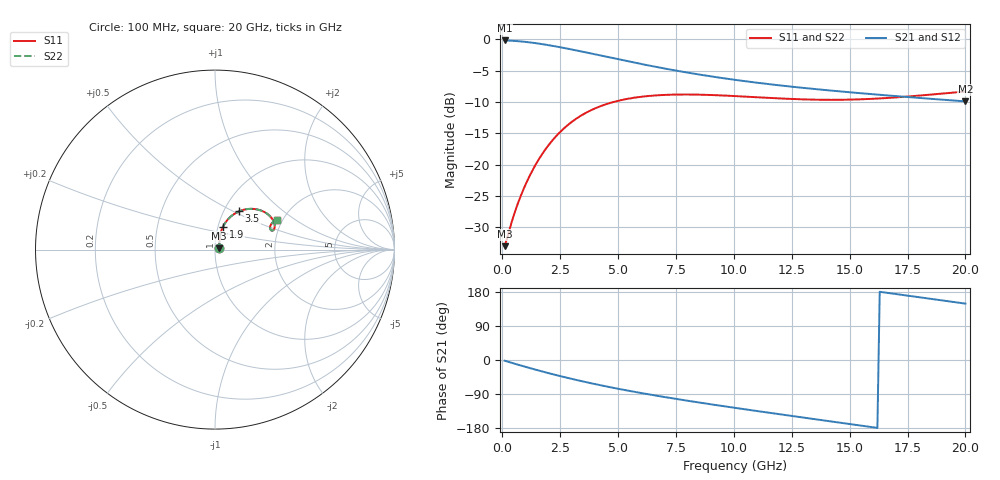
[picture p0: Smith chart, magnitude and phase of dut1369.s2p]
! Touchstone file exported from HFSS 2024.1.0
!  File:  C:/UserFiles/LocalFiles/RDL_TSV_Batchsim/temp_RDL_TSV_1369_1780398449.aedt
!  Generated:  07:24:12 PM Jun  2, 2026
!  Design:  RDL_TSV
!  Project:  temp_RDL_TSV_1369_1780398449
!  Setup:  Setup1
!  Solution:  Sweep
! Variables:
!  dtsv = 8.83um
!  hbump = 3um
!  htsv = 68.87um
!  ldown = 251.18um
!  lrdl = 578.28um
!  p = 40
!  p1 = 55.55um
!  rhole = 10um
!  subl = 3066.66um
!  t = 450um
!  tdown = 2.5um
!  trdl = 3.65um
!  viad = 10um
!  wdown = 11.99um
!  wrdl = 18.67um
!  xbump = 18um
# GHz S MA R 50.000000
! Terminal data exported
! Port[1] = TM1_1_T1
! Port[2] = TM1_4_T1
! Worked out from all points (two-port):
!   200 points, 100 MHz to 20 GHz, reference 50 ohm
!   highest |S21| = -0.19 dB at 100 MHz (marker M1); lowest = -9.9 dB at 20 GHz (marker M2)
!   |S21| within 3 dB of the highest: start of sweep to 5.008 GHz
!   lowest |S11| = -33.0 dB at 100 MHz (marker M3), VSWR 1.05, Z = 52.2 + j0.703 ohm
!   |S11| at or under -10 dB: start of sweep to 4.817 GHz
!   |S22| runs from -33.0 to -8.3 dB; largest |S21 - S12| = 3.1e-14
!   S11 on the Smith chart (normalised r, x): 100 MHz: 1.04, +0.01; 1.9 GHz: 1.06, +0.27; 3.5 GHz: 1.18, +0.54; 20 GHz: 1.87, +0.73
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0.1  0.02232 17.6  0.9785 -1.9  0.9785 -1.9  0.02232 17.6
! Gamma 0 0 0 0
! Port Impedance 50 0 50 0
0.5  0.03953 53.5  0.9709 -9.2  0.9709 -9.2  0.03953 53.5
0.7  0.05047 61.0  0.9648 -12.8  0.9648 -12.8  0.05048 61.0
0.9  0.06251 65.8  0.9574 -16.3  0.9574 -16.3  0.06251 65.8
1.4  0.09686 70.9  0.9335 -24.9  0.9335 -24.9  0.09688 71.0
1.9  0.1352 70.7  0.9039 -33.1  0.9039 -33.1  0.1352 70.7
2.2  0.1589 69.1  0.8844 -37.9  0.8844 -37.9  0.1589 69.1
2.6  0.1898 66.1  0.8571 -44.0  0.8571 -44.0  0.1899 66.1
3  0.2191 62.6  0.829 -49.8  0.829 -49.8  0.2191 62.6
3.5  0.2521 57.8  0.7936 -56.9  0.7936 -56.9  0.2521 57.8
4.2  0.2904 51.1  0.7452 -66.1  0.7452 -66.1  0.2904 51.1
5.1  0.3258 43.3  0.687 -77.1  0.687 -77.1  0.3259 43.3
5.9  0.3458 37.2  0.6404 -86.1  0.6404 -86.1  0.3459 37.2
6.8  0.3581 31.5  0.5941 -95.6  0.5941 -95.6  0.3583 31.5
8.3  0.3619 24.5  0.5306 -110.3  0.5306 -110.3  0.3621 24.4
10.1  0.3517 19.7  0.473 -126.7  0.473 -126.7  0.3519 19.6
11.7  0.3391 18.3  0.4344 -140.7  0.4344 -140.7  0.3393 18.2
13.4  0.3299 19.2  0.4023 -155.3  0.4023 -155.3  0.33 19.1
15  0.3298 21.5  0.3777 -169.0  0.3777 -169.0  0.3299 21.4
16.7  0.3405 24.0  0.3554 176.6  0.3554 176.6  0.3405 23.9
18.3  0.3589 25.6  0.337 163.1  0.337 163.1  0.3587 25.4
20  0.3829 25.9  0.3194 148.8  0.3194 148.8  0.3826 25.7
